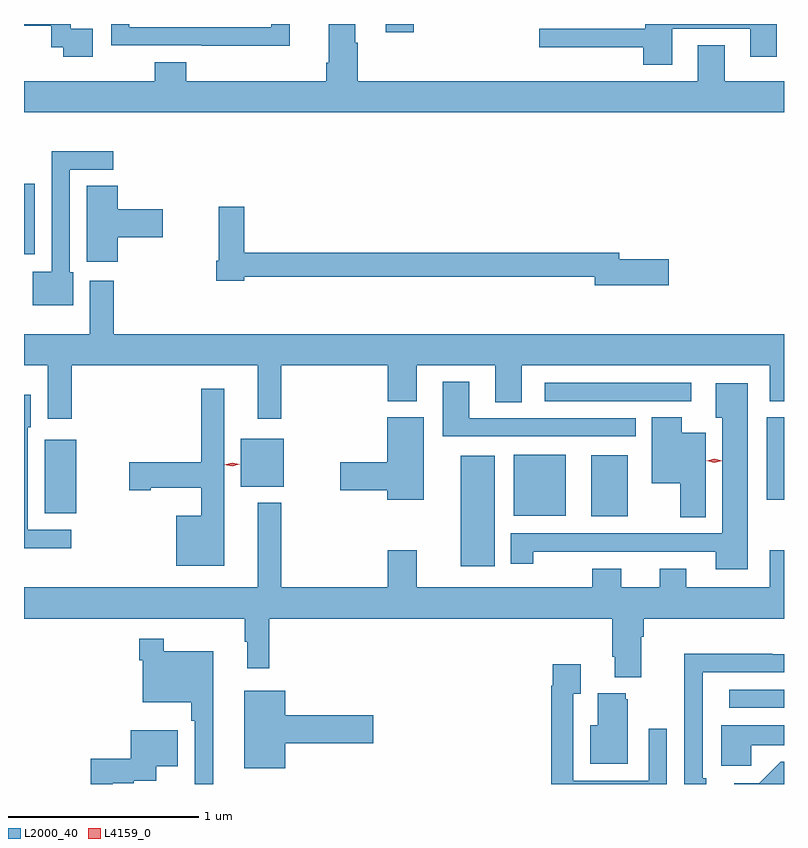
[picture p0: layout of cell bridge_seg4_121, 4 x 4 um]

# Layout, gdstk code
import gdstk
lib = gdstk.Library(unit=1e-6, precision=1e-09)
def R(c, l, rs):  # rectangles x0, y0, x1, y1
    for r in rs: c.add(gdstk.rectangle(r[:2], r[2:], *l))
def P(c, l, *ps):  # polygons
    for p in ps: c.add(gdstk.Polygon(p, *l))
L2000_40 = (2000, 40)
L4159_0 = (4159, 0)

bridge_seg4_121 = lib.new_cell('bridge_seg4_121')
R(bridge_seg4_121, L2000_40, [(354.087,775.038,354.374,775.134), (352.673,775.784,352.852,776.365), (353.36,776.045,353.551,776.368), (352.952,776.048,353.224,776.371), (350.483,776.063,350.65,776.449), (354.284,776.132,354.374,776.566), (351.515,776.201,351.742,776.455), (353.115,776.652,353.887,776.748), (350.374,777.426,350.431,777.796), (352.277,778.593,352.426,778.637)])
P(bridge_seg4_121, L2000_40, [(354.374,778.336),(354.061,778.336),(354.061,778.526),(353.921,778.526),(353.921,778.336),(352.13,778.336),(352.13,778.538),(352.117,778.538),(352.117,778.637),(351.977,778.637),(351.977,778.432),(351.965,778.432),(351.965,778.336),(351.227,778.336),(351.227,778.435),(351.062,778.435),(351.062,778.336),(350.374,778.336),(350.374,778.172),(354.374,778.172)],
  [(350.737,778.611),(350.619,778.611),(350.619,778.637),(350.374,778.637),(350.374,778.629),(350.518,778.629),(350.518,778.515),(350.581,778.515),(350.581,778.464),(350.737,778.464)],
  [(351.773,778.637),(351.675,778.637),(351.675,778.62),(350.928,778.62),(350.928,778.637),(350.832,778.637),(350.832,778.524),(351.31,778.524),(351.31,778.523),(351.773,778.523)],
  [(353.785,778.611),(354.197,778.611),(354.197,778.464),(354.337,778.464),(354.337,778.637),(353.645,778.637),(353.645,778.611),(353.085,778.611),(353.085,778.514),(353.633,778.514),(353.633,778.422),(353.785,778.422)],
  [(350.632,777.33),(350.616,777.33),(350.616,777.87),(350.845,777.87),(350.845,777.968),(350.52,777.968),(350.52,777.334),(350.42,777.334),(350.42,777.158),(350.632,777.158)],
  [(350.867,777.515),(351.103,777.515),(351.103,777.662),(350.867,777.662),(350.867,777.785),(350.705,777.785),(350.705,777.387),(350.867,777.387)],
  [(353.767,777.398),(353.506,777.398),(353.506,777.434),(351.533,777.434),(351.533,777.676),(351.398,777.676),(351.398,777.391),(351.386,777.391),(351.386,777.287),(351.533,777.287),(351.533,777.306),(353.378,777.306),(353.378,777.263),(353.767,777.263)],
  [(350.624,776.84),(351.605,776.84),(351.605,776.559),(351.727,776.559),(351.727,776.84),(352.289,776.84),(352.289,776.651),(352.441,776.651),(352.441,776.84),(352.853,776.84),(352.853,776.647),(352.993,776.647),(352.993,776.84),(354.299,776.84),(354.299,776.651),(354.374,776.651),(354.374,777.004),(350.846,777.004),(350.846,777.286),(350.72,777.286),(350.72,777.004),(350.374,777.004),(350.374,776.84),(350.498,776.84),(350.498,776.559),(350.624,776.559)],
  [(353.593,776.562),(352.717,776.562),(352.717,776.755),(352.577,776.755),(352.577,776.466),(353.593,776.466)],
  [(354.184,776.746),(354.014,776.746),(354.014,776.564),(354.05,776.564),(354.05,775.956),(352.937,775.956),(352.937,775.797),(353.055,775.797),(353.055,775.859),(353.282,775.859),(353.282,775.86),(354.014,775.86),(354.014,775.766),(354.184,775.766)],
  [(351.427,776.716),(351.306,776.716),(351.306,776.33),(350.928,776.33),(350.928,776.183),(351.04,776.183),(351.04,776.195),(351.306,776.195),(351.306,776.05),(351.176,776.05),(351.176,775.787),(351.427,775.787)],
  [(350.623,775.974),(350.394,775.974),(350.394,776.514),(350.41,776.514),(350.41,776.686),(350.374,776.686),(350.374,775.877),(350.623,775.877)],
  [(353.962,776.485),(353.836,776.485),(353.836,776.567),(353.678,776.567),(353.678,776.219),(353.828,776.219),(353.828,776.041),(353.962,776.041)],
  [(352.477,776.566),(352.286,776.566),(352.286,776.33),(352.038,776.33),(352.038,776.183),(352.286,776.183),(352.286,776.132),(352.477,776.132)],
  [(353.623,775.412),(353.636,775.412),(353.636,775.508),(354.374,775.508),(354.374,775.867),(354.299,775.867),(354.299,775.672),(353.86,775.672),(353.86,775.771),(353.72,775.771),(353.72,775.672),(353.518,775.672),(353.518,775.771),(353.366,775.771),(353.366,775.672),(352.441,775.672),(352.441,775.867),(352.289,775.867),(352.289,775.672),(351.727,775.672),(351.727,776.116),(351.605,776.116),(351.605,775.672),(350.374,775.672),(350.374,775.508),(351.537,775.508),(351.537,775.385),(351.548,775.385),(351.548,775.245),(351.665,775.245),(351.665,775.508),(353.471,775.508),(353.471,775.306),(353.483,775.306),(353.483,775.199),(353.623,775.199)],
  [(351.37,775.336),(351.109,775.336),(351.109,775.402),(350.98,775.402),(350.98,775.289),(351,775.289),(351,775.067),(351.253,775.067),(351.253,774.971),(351.273,774.971),(351.273,774.637),(351.37,774.637)],
  [(353.965,774.666),(353.946,774.666),(353.946,774.97),(353.947,774.97),(353.947,775.224),(354.374,775.224),(354.374,775.32),(354.311,775.32),(354.311,775.322),(353.848,775.322),(353.848,775.015),(353.85,775.015),(353.85,774.637),(353.965,774.637)],
  [(353.757,774.928),(353.661,774.928),(353.661,774.654),(353.265,774.654),(353.265,775.111),(353.305,775.111),(353.305,775.267),(353.157,775.267),(353.157,775.154),(353.149,775.154),(353.149,774.637),(353.757,774.637)],
  [(351.748,774.851),(352.213,774.851),(352.213,774.998),(351.748,774.998),(351.748,775.129),(351.533,775.129),(351.533,774.719),(351.748,774.719)],
  [(353.551,775.083),(353.54,775.083),(353.54,775.114),(353.393,775.114),(353.393,774.946),(353.354,774.946),(353.354,774.743),(353.551,774.743)],
  [(354.201,774.842),(354.374,774.842),(354.374,774.946),(354.044,774.946),(354.044,774.734),(354.201,774.734)],
  [(350.842,774.642),(350.952,774.642),(350.952,774.654),(351.07,774.654),(351.07,774.731),(351.184,774.731),(351.184,774.919),(350.936,774.919),(350.936,774.77),(350.725,774.77),(350.725,774.637),(350.842,774.637)],
  [(354.374,774.753),(354.356,774.753),(354.245,774.642),(354.111,774.642),(354.111,774.637),(354.374,774.637)])
P(bridge_seg4_121, L4159_0, [(354.008,776.328),(353.967,776.338),(353.967,776.338),(353.967,776.338),(354.008,776.348),(354.048,776.338),(354.049,776.338),(354.048,776.338)],
  [(351.469,776.309),(351.429,776.317),(351.428,776.318),(351.429,776.318),(351.469,776.329),(351.51,776.32),(351.51,776.32),(351.51,776.32)])

lib.write_gds('bridge_seg4_121.gds')
